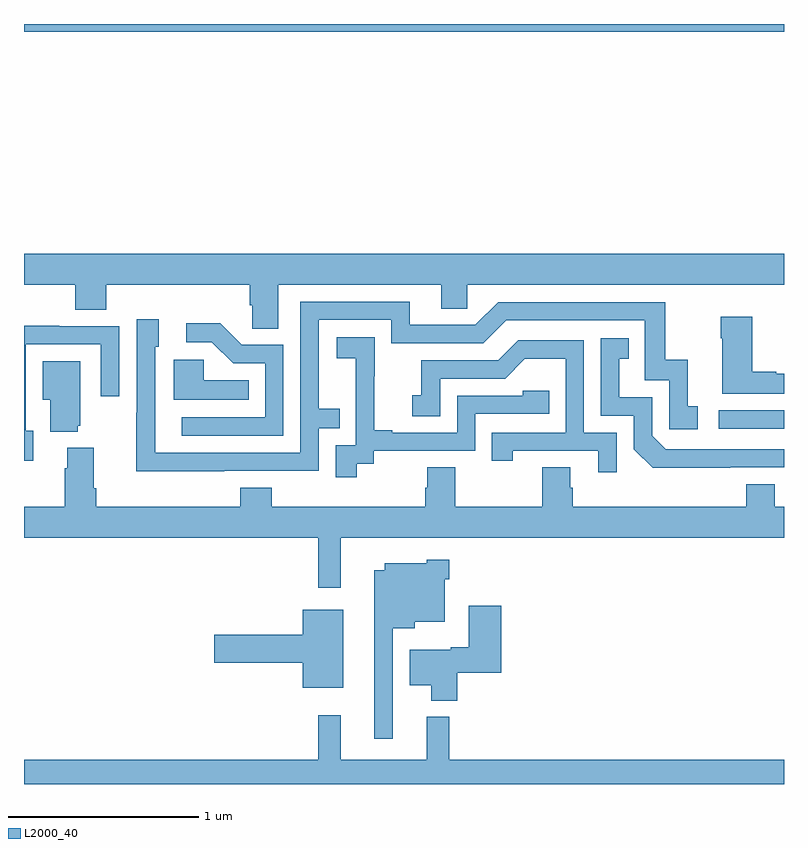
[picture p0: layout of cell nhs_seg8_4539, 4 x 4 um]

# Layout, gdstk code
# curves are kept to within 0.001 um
import gdstk
lib = gdstk.Library(unit=1e-6, precision=1e-09)
def R(c, l, rs):  # rectangles x0, y0, x1, y1
    for r in rs: c.add(gdstk.rectangle(r[:2], r[2:], *l))
def P(c, l, *ps):  # polygons
    for p in ps: c.add(gdstk.Polygon(p, *l))
L2000_40 = (2000, 40)

nhs_seg8_4539 = lib.new_cell('nhs_seg8_4539')
R(nhs_seg8_4539, L2000_40, [(390.657,1087.77,391,1087.866), (387,1089.86,391,1089.9)])
P(nhs_seg8_4539, L2000_40, [(388.339,1088.528),(389.195,1088.528),(389.195,1088.401),(389.334,1088.401),(389.334,1088.528),(391,1088.528),(391,1088.692),(387,1088.692),(387,1088.528),(387.269,1088.528),(387.269,1088.395),(387.434,1088.395),(387.434,1088.528),(388.187,1088.528),(388.187,1088.419),(388.2,1088.419),(388.2,1088.296),(388.339,1088.296)],
  [(388.055,1087.548),(388.551,1087.548),(388.551,1087.773),(388.661,1087.773),(388.661,1087.874),(388.551,1087.874),(388.551,1088.343),(388.932,1088.343),(388.932,1088.22),(389.418,1088.22),(389.538,1088.34),(390.267,1088.34),(390.267,1088.025),(390.396,1088.025),(390.396,1087.767),(390.547,1087.767),(390.547,1087.887),(390.494,1087.887),(390.494,1088.134),(390.376,1088.134),(390.376,1088.436),(389.496,1088.436),(389.376,1088.316),(389.029,1088.316),(389.029,1088.439),(388.455,1088.439),(388.455,1087.644),(387.691,1087.644),(387.69,1088.202),(387.709,1088.202),(387.709,1088.347),(387.594,1088.347),(387.594,1087.853),(387.592,1087.853),(387.592,1087.547)],
  [(391,1088.059),(390.959,1088.059),(390.959,1088.069),(390.832,1088.069),(390.832,1088.359),(390.667,1088.359),(390.667,1088.246),(390.674,1088.246),(390.674,1087.955),(391,1087.955)],
  [(388.365,1088.211),(388.146,1088.211),(388.033,1088.324),(387.855,1088.324),(387.855,1088.226),(387.989,1088.226),(388.1,1088.115),(388.269,1088.115),(388.269,1087.83),(387.831,1087.83),(387.831,1087.734),(388.365,1087.734)],
  [(387.049,1087.758),(387.009,1087.758),(387.009,1088.214),(387.405,1088.214),(387.405,1087.941),(387.501,1087.941),(387.501,1088.31),(387.185,1088.31),(387.185,1088.312),(387,1088.312),(387,1087.602),(387.049,1087.602)],
  [(388.75,1087.585),(388.842,1087.585),(388.842,1087.653),(389.376,1087.653),(389.376,1087.848),(389.765,1087.848),(389.765,1087.971),(389.625,1087.971),(389.625,1087.944),(389.28,1087.944),(389.28,1087.749),(388.939,1087.749),(388.939,1087.762),(388.844,1087.762),(388.844,1088.045),(388.845,1088.045),(388.845,1088.251),(388.647,1088.251),(388.647,1088.141),(388.745,1088.141),(388.745,1087.913),(388.746,1087.913),(388.746,1087.683),(388.641,1087.683),(388.641,1087.515),(388.75,1087.515)],
  [(390.716,1087.566),(391,1087.566),(391,1087.662),(390.378,1087.662),(390.306,1087.734),(390.306,1087.935),(390.133,1087.935),(390.133,1088.139),(390.182,1088.139),(390.182,1088.245),(390.036,1088.245),(390.036,1087.839),(390.21,1087.839),(390.21,1087.662),(390.308,1087.565)],
  [(390.12,1087.749),(389.946,1087.749),(389.946,1088.235),(389.6,1088.235),(389.495,1088.13),(389.092,1088.13),(389.092,1087.945),(389.043,1087.945),(389.043,1087.836),(389.19,1087.836),(389.19,1088.034),(389.532,1088.034),(389.636,1088.138),(389.85,1088.138),(389.85,1087.749),(389.461,1087.749),(389.461,1087.602),(389.572,1087.602),(389.572,1087.653),(390.023,1087.653),(390.023,1087.542),(390.12,1087.542)],
  [(388.184,1088.026),(387.945,1088.026),(387.945,1088.134),(387.788,1088.134),(387.788,1087.922),(388.184,1087.922)],
  [(387.284,1087.785),(387.295,1087.785),(387.295,1088.125),(387.098,1088.125),(387.098,1087.922),(387.137,1087.922),(387.137,1087.754),(387.284,1087.754)],
  [(388.668,1087.196),(391,1087.196),(391,1087.36),(390.952,1087.36),(390.952,1087.477),(390.8,1087.477),(390.8,1087.36),(389.888,1087.36),(389.888,1087.458),(389.875,1087.458),(389.875,1087.568),(389.728,1087.568),(389.728,1087.36),(389.271,1087.36),(389.271,1087.568),(389.123,1087.568),(389.123,1087.458),(389.111,1087.458),(389.111,1087.36),(388.304,1087.36),(388.304,1087.459),(388.139,1087.459),(388.139,1087.36),(387.38,1087.36),(387.38,1087.456),(387.367,1087.456),(387.367,1087.669),(387.227,1087.669),(387.227,1087.562),(387.215,1087.562),(387.215,1087.36),(387,1087.36),(387,1087.196),(388.549,1087.196),(388.549,1086.933),(388.668,1086.933)],
  [(388.941,1086.719),(389.056,1086.719),(389.056,1086.755),(389.215,1086.755),(389.215,1086.977),(389.237,1086.977),(389.237,1087.081),(389.121,1087.081),(389.121,1087.063),(388.898,1087.063),(388.898,1087.024),(388.844,1087.024),(388.844,1086.138),(388.941,1086.138)],
  [(389.279,1086.485),(389.513,1086.485),(389.513,1086.838),(389.342,1086.838),(389.342,1086.62),(389.246,1086.62),(389.246,1086.607),(389.03,1086.607),(389.03,1086.419),(389.144,1086.419),(389.144,1086.338),(389.279,1086.338)],
  [(388.681,1086.817),(388.466,1086.817),(388.466,1086.686),(388.002,1086.686),(388.002,1086.539),(388.466,1086.539),(388.466,1086.407),(388.681,1086.407)],
  [(391,1086.028),(389.237,1086.028),(389.237,1086.253),(389.12,1086.253),(389.12,1086.028),(388.667,1086.028),(388.667,1086.262),(388.549,1086.262),(388.549,1086.028),(387,1086.028),(387,1085.9),(391,1085.9)])

lib.write_gds('nhs_seg8_4539.gds')
